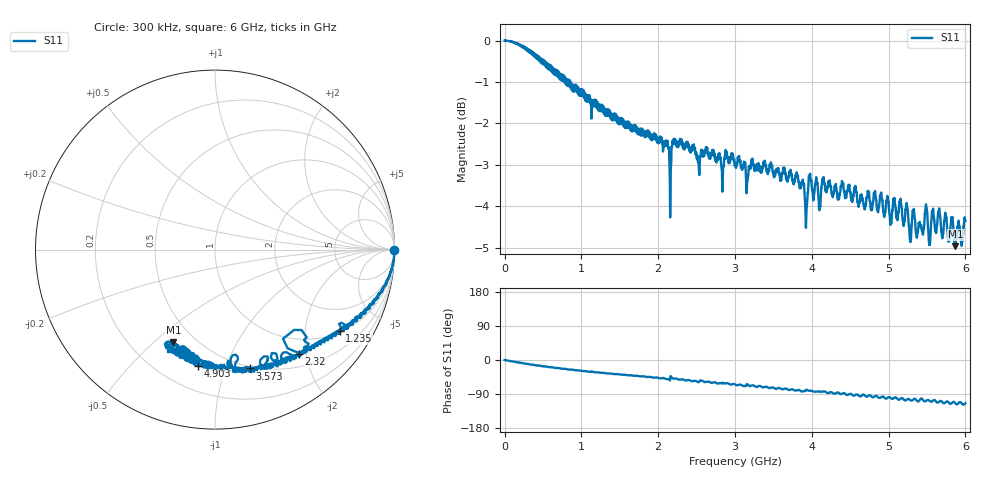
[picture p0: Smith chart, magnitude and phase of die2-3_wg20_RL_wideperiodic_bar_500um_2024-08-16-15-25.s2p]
!Keysight Technologies,P9374A,MY57304198,A.17.20.09
!Date: Friday, August 16, 2024 15:25:13
!Correction: S11(C  1-Port  )
!S21(C  1-Port  )
!S12(Off)
!S22(Off)
!S2P File: Measurements: S11, S21, S12, S22:
# Hz S  dB  R 50
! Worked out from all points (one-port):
!   6000 points, 300 kHz to 6 GHz, reference 50 ohm
!   lowest |S11| = -5.0 dB at 5.869 GHz (marker M1), VSWR 3.60, Z = 19.1 - j28.9 ohm
!   |S11| at or under -10 dB: nowhere
!   S11 on the Smith chart (normalised r, x): 300 kHz: open; 1.235 GHz: 1.03, -3.03; 2.32 GHz: 0.71, -1.87; 3.573 GHz: 0.48, -1.22; 4.903 GHz: 0.35, -0.80; 6 GHz: 0.34, -0.59
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300000  -0.00 -0.0  -200.00 45.0  -200.00 45.0  -200.00 45.0
4.093477e8  -0.34 -13.7  -200.00 45.0  -200.00 45.0  -200.00 45.0
1.000417e9  -1.31 -28.8  -200.00 45.0  -200.00 45.0  -200.00 45.0
1.235444e9  -1.62 -33.3  -200.00 45.0  -200.00 45.0  -200.00 45.0
2.000533e9  -2.46 -47.2  -200.00 45.0  -200.00 45.0  -200.00 45.0
2.118547e9  -2.51 -50.4  -200.00 45.0  -200.00 45.0  -200.00 45.0
2.172553e9  -2.61 -45.2  -200.00 45.0  -200.00 45.0  -200.00 45.0
2.319571e9  -2.53 -51.3  -200.00 45.0  -200.00 45.0  -200.00 45.0
2.510593e9  -2.78 -57.8  -200.00 45.0  -200.00 45.0  -200.00 45.0
2.5686e9  -2.71 -54.5  -200.00 45.0  -200.00 45.0  -200.00 45.0
3.00065e9  -3.01 -64.3  -200.00 45.0  -200.00 45.0  -200.00 45.0
3.572717e9  -3.22 -73.5  -200.00 45.0  -200.00 45.0  -200.00 45.0
3.878753e9  -3.42 -83.0  -200.00 45.0  -200.00 45.0  -200.00 45.0
3.925758e9  -4.43 -78.4  -200.00 45.0  -200.00 45.0  -200.00 45.0
4.000767e9  -3.53 -81.2  -200.00 45.0  -200.00 45.0  -200.00 45.0
4.902872e9  -3.66 -98.1  -200.00 45.0  -200.00 45.0  -200.00 45.0
5.000883e9  -3.95 -98.0  -200.00 45.0  -200.00 45.0  -200.00 45.0
5.219909e9  -4.07 -106.9  -200.00 45.0  -200.00 45.0  -200.00 45.0
5.428933e9  -4.54 -101.4  -200.00 45.0  -200.00 45.0  -200.00 45.0
5.475939e9  -4.13 -108.9  -200.00 45.0  -200.00 45.0  -200.00 45.0
5.868985e9  -4.96 -114.2  -200.00 45.0  -200.00 45.0  -200.00 45.0
6e9  -4.35 -114.1  -200.00 45.0  -200.00 45.0  -200.00 45.0
